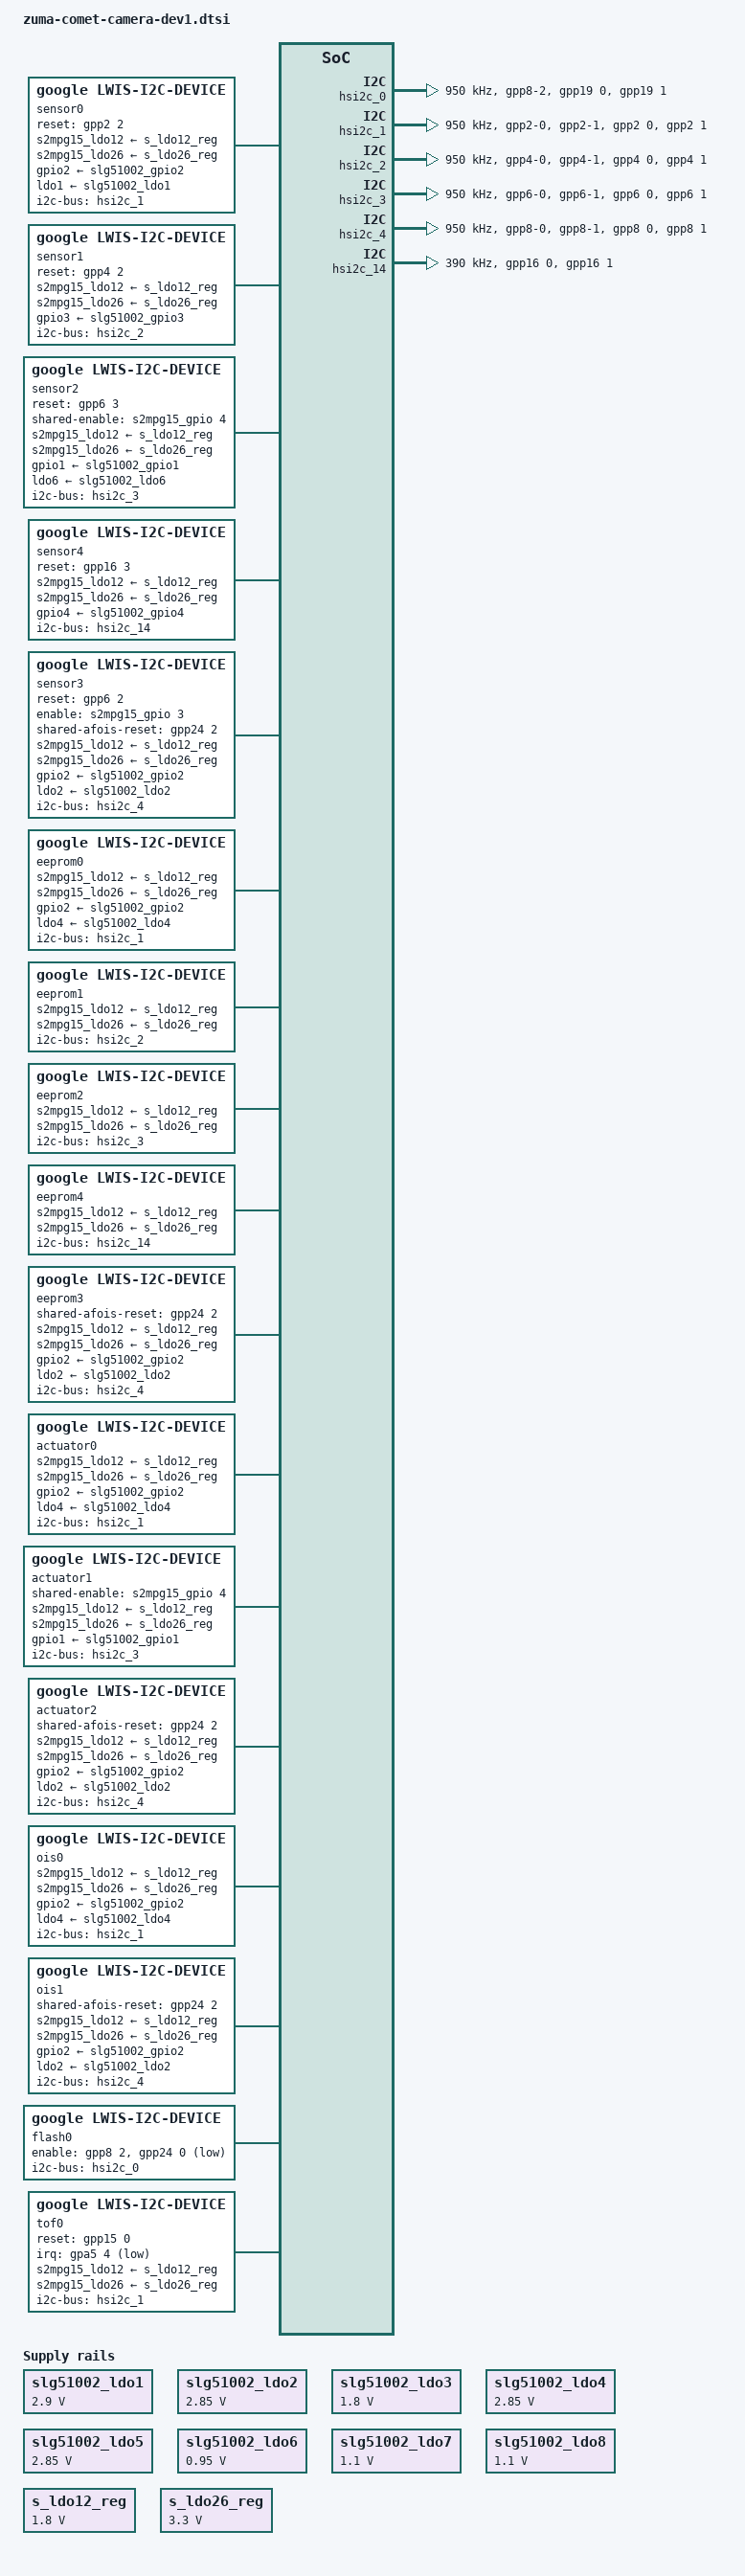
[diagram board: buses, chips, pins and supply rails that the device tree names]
// SPDX-License-Identifier: GPL-2.0-only
/*
 * zuma camera lwis device tree for comet
 *
 * Copyright 2023 Google LLC.
 *
 */

#include <dt-bindings/clock/zuma.h>
#include <dt-bindings/gpio/gpio.h>
#include <dt-bindings/lwis/platform/zuma/tof.h>
#include <arm64/exynos/exynos-pinctrl.h>

&slg51002_ldo1 {
	regulator-min-microvolt = <2900000>;
	regulator-max-microvolt = <2900000>;
};

&slg51002_ldo2 {
	regulator-min-microvolt = <2850000>;
	regulator-max-microvolt = <2850000>;
};

&slg51002_ldo3 {
	regulator-min-microvolt = <1800000>;
	regulator-max-microvolt = <1800000>;
};

&slg51002_ldo4 {
	regulator-min-microvolt = <2850000>;
	regulator-max-microvolt = <2850000>;
};

&slg51002_ldo5 {
	regulator-min-microvolt = <2850000>;
	regulator-max-microvolt = <2850000>;
};

&slg51002_ldo6 {
	regulator-min-microvolt = <950000>;
	regulator-max-microvolt = <950000>;
};

&slg51002_ldo7 {
	regulator-min-microvolt = <1100000>;
	regulator-max-microvolt = <1100000>;
};

&slg51002_ldo8 {
	regulator-min-microvolt = <1100000>;
	regulator-max-microvolt = <1100000>;
};

&s_ldo12_reg {
	regulator-min-microvolt = <1800000>;
	regulator-max-microvolt = <1800000>;
};

&s_ldo26_reg {
	regulator-min-microvolt = <3300000>;
	regulator-max-microvolt = <3300000>;
};

&pinctrl_11 {
	hsi2c1_bus: hsi2c1-bus {
		samsung,pin-pud = <EXYNOS_PIN_PULL_UP>;
	};

	hsi2c1_bus_in: hsi2c1-bus-in {
		samsung,pins = "gpp2-0", "gpp2-1";
		samsung,pin-function = <EXYNOS_PIN_FUNC_INPUT>;
		samsung,pin-pud = <EXYNOS_PIN_PULL_NONE>;
		samsung,pin-drv = <ZUMA_PIN_DRV_X1>;
	};

	hsi2c2_bus: hsi2c2-bus {
		samsung,pin-pud = <EXYNOS_PIN_PULL_UP>;
	};

	hsi2c2_bus_in: hsi2c2-bus-in {
		samsung,pins = "gpp4-0", "gpp4-1";
		samsung,pin-function = <EXYNOS_PIN_FUNC_INPUT>;
		samsung,pin-pud = <EXYNOS_PIN_PULL_NONE>;
		samsung,pin-drv = <ZUMA_PIN_DRV_X1>;
	};

	hsi2c3_bus: hsi2c3-bus {
		samsung,pin-pud = <EXYNOS_PIN_PULL_UP>;
	};

	hsi2c3_bus_in: hsi2c3-bus-in {
		samsung,pins = "gpp6-0", "gpp6-1";
		samsung,pin-function = <EXYNOS_PIN_FUNC_INPUT>;
		samsung,pin-pud = <EXYNOS_PIN_PULL_NONE>;
		samsung,pin-drv = <ZUMA_PIN_DRV_X1>;
	};

	hsi2c4_bus: hsi2c4-bus {
		samsung,pin-pud = <EXYNOS_PIN_PULL_UP>;
	};

	hsi2c4_bus_in: hsi2c4-bus-in {
		samsung,pins = "gpp8-0", "gpp8-1";
		samsung,pin-function = <EXYNOS_PIN_FUNC_INPUT>;
		samsung,pin-pud = <EXYNOS_PIN_PULL_NONE>;
		samsung,pin-drv = <ZUMA_PIN_DRV_X1>;
	};

	sensor_mclk1_out: sensor-mclk1-out {
		samsung,pin-drv = <ZUMA_PIN_DRV_X3>;
	};
	sensor_mclk1_fn: sensor-mclk1-fn {
		samsung,pin-drv = <ZUMA_PIN_DRV_X3>;
	};
	sensor_mclk2_out: sensor-mclk2-out {
		samsung,pin-drv = <ZUMA_PIN_DRV_X3>;
	};
	sensor_mclk2_fn: sensor-mclk2-fn {
		samsung,pin-drv = <ZUMA_PIN_DRV_X3>;
	};
	sensor_mclk4_out: sensor-mclk4-out {
		samsung,pin-drv = <ZUMA_PIN_DRV_X2>;
	};
	sensor_mclk4_fn: sensor-mclk4-fn {
		samsung,pin-drv = <ZUMA_PIN_DRV_X2>;
	};
	sensor_mclk5_out: sensor-mclk5-out {
		samsung,pin-drv = <ZUMA_PIN_DRV_X2>;
	};
	sensor_mclk5_fn: sensor-mclk5-fn {
		samsung,pin-drv = <ZUMA_PIN_DRV_X2>;
	};
};

&pinctrl_2 {
	ldaf_irq: ldaf-irq {
		samsung,pins = "gpa5-4"; /* XEINT_4 */
		samsung,pin-function = <EXYNOS_PIN_FUNC_EINT>;
		samsung,pin-pud = <EXYNOS_PIN_PULL_NONE>;
	};
};

&pinctrl_12 {
	/* GPP8[2] Flashlight Enable */
	flash_en: flash-en {
		samsung,pins = "gpp8-2";
		samsung,pin-function = <EXYNOS_PIN_FUNC_INPUT>;
		samsung,pin-pud = <EXYNOS_PIN_PULL_NONE>;
		samsung,pin-con-pdn = <EXYNOS_PIN_PDN_PREV>;
		samsung,pin-pud-pdn = <EXYNOS_PIN_PULL_NONE>;
	};
};

&hsi2c_0 {
	#address-cells = <1>;
	#size-cells = <0>;
	gpios = <&gpp19 0 GPIO_ACTIVE_HIGH &gpp19 1 GPIO_ACTIVE_HIGH>;
	status = "okay";
	clock-frequency = <950000>;

	pinctrl-names = "default","on_i2c","off_i2c";
	pinctrl-0 = <&hsi2c0_bus &flash_en>;
	pinctrl-1 = <&hsi2c0_bus>;
	pinctrl-2 = <&hsi2c0_bus>;
};

&hsi2c_1 {
	#address-cells = <1>;
	#size-cells = <0>;
	gpios = <&gpp2 0 GPIO_ACTIVE_HIGH &gpp2 1 GPIO_ACTIVE_HIGH>;
	status = "okay";
	clock-frequency = <950000>;
	samsung,reset-before-trans;

	pinctrl-names = "default","on_i2c","off_i2c";
	pinctrl-0 = <&hsi2c1_bus_in>;
	pinctrl-1 = <&hsi2c1_bus>;
	pinctrl-2 = <&hsi2c1_bus_in>;
};

&hsi2c_2 {
	#address-cells = <1>;
	#size-cells = <0>;
	gpios = <&gpp4 0 GPIO_ACTIVE_HIGH &gpp4 1 GPIO_ACTIVE_HIGH>;
	status = "okay";
	clock-frequency = <950000>;
	samsung,reset-before-trans;

	pinctrl-names = "default","on_i2c","off_i2c";
	pinctrl-0 = <&hsi2c2_bus_in>;
	pinctrl-1 = <&hsi2c2_bus>;
	pinctrl-2 = <&hsi2c2_bus_in>;
};

&hsi2c_3 {
	#address-cells = <1>;
	#size-cells = <0>;
	gpios = <&gpp6 0 GPIO_ACTIVE_HIGH &gpp6 1 GPIO_ACTIVE_HIGH>;
	status = "okay";
	clock-frequency = <950000>;
	samsung,reset-before-trans;

	pinctrl-names = "default","on_i2c","off_i2c";
	pinctrl-0 = <&hsi2c3_bus_in>;
	pinctrl-1 = <&hsi2c3_bus>;
	pinctrl-2 = <&hsi2c3_bus_in>;
};

&hsi2c_4 {
	#address-cells = <1>;
	#size-cells = <0>;
	gpios = <&gpp8 0 GPIO_ACTIVE_HIGH &gpp8 1 GPIO_ACTIVE_HIGH>;
	status = "okay";
	clock-frequency = <950000>;
	samsung,reset-before-trans;

	pinctrl-names = "default","on_i2c","off_i2c";
	pinctrl-0 = <&hsi2c4_bus_in>;
	pinctrl-1 = <&hsi2c4_bus>;
	pinctrl-2 = <&hsi2c4_bus_in>;
};

&hsi2c_14 {
	#address-cells = <1>;
	#size-cells = <0>;
	gpios = <&gpp16 0 GPIO_ACTIVE_HIGH &gpp16 1 GPIO_ACTIVE_HIGH>;
	status = "okay";
	clock-frequency = <390000>;

	pinctrl-names = "default","on_i2c","off_i2c";
	pinctrl-0 = <&hsi2c14_bus>;
	pinctrl-1 = <&hsi2c14_bus>;
	pinctrl-2 = <&hsi2c14_bus>;
};

/ {
	fragment@lwiscamera {
		target-path = "/";
		__overlay__ {
			/* REAR CAMERA OKSOKO */
			sensor0: sensor@0 {
				compatible = "google,lwis-i2c-device";

				/* Device node name */
				node-name = "sensor-oksoko";

				/* I2C */
				i2c-bus = <&hsi2c_1>;
				i2c-addr = <0x1A>;

				/* Registers */
				reg-addr-bitwidth = <16>;
				reg-value-bitwidth = <8>;

				/* GPIOs */
				/* RCAM_RST_L GPP2[2] */
				reset-gpios = <&gpp2 2 GPIO_ACTIVE_HIGH>;

				/* Power supplies */
				s2mpg15_ldo12-supply = <&s_ldo12_reg>;
				s2mpg15_ldo26-supply = <&s_ldo26_reg>;
				gpio2-supply = <&slg51002_gpio2>;
				ldo1-supply = <&slg51002_ldo1>;
				ldo8-supply = <&slg51002_ldo8>;
				ldo4-supply = <&slg51002_ldo4>;
				ldo3-supply = <&slg51002_ldo3>;

				clocks =
					<&clock CIS_CLK3>,
					<&clock GATE_DFTMUX_CMU_CIS_CLK3>;
				clock-names =
					"CIS_CLK3",
					"GATE_DFTMUX_CMU_CIS_CLK3";
				clock-rates =
					<26000000>,
					<0>;

				/* MCLK Control */
				pinctrl-names = "mclk_on", "mclk_off";
				pinctrl-0 = <&sensor_mclk4_fn>;
				pinctrl-1 = <&sensor_mclk4_out>;

				/* Power up sequence */
				power-up-seqs =
					"s2mpg15_ldo26",
					"s2mpg15_ldo12",
					"gpio2",
					"ldo4",
					"ldo1",
					"ldo3",
					"ldo8",
					"reset",
					"mclk_on";
				power-up-seq-types =
					"regulator",
					"regulator",
					"regulator",
					"regulator",
					"regulator",
					"regulator",
					"regulator",
					"gpio",
					"pinctrl";
				power-up-seq-delays-us =
					<0
					 1000
					 1000
					 1000
					 1000
					 1000
					 1000
					 1000
					 9000>;

				/* Power down sequence */
				power-down-seqs =
					"mclk_off",
					"reset",
					"ldo8",
					"ldo3",
					"ldo1",
					"ldo4",
					"gpio2",
					"s2mpg15_ldo12",
					"s2mpg15_ldo26";
				power-down-seq-types =
					"pinctrl",
					"gpio",
					"regulator",
					"regulator",
					"regulator",
					"regulator",
					"regulator",
					"regulator",
					"regulator";
				power-down-seq-delays-us =
					<1000
					 1000
					 1000
					 1000
					 1000
					 1000
					 1000
					 0
					 0>;

				/* Thread priority */
				transaction-thread-priority = <99>;

				i2c-lock-group-id = <0>;
			};

			/* INNER-FRONT CAMERA SVAROG */
			sensor1: sensor@1 {
				compatible = "google,lwis-i2c-device";

				/* Device node name */
				node-name = "sensor-svarog";

				/* I2C */
				i2c-bus = <&hsi2c_2>;
				i2c-addr = <0x10>;

				/* Registers */
				reg-addr-bitwidth = <16>;
				reg-value-bitwidth = <16>;

				/* GPIOs */
				reset-gpios = <&gpp4 2 GPIO_ACTIVE_HIGH>;

				/* Power supplies */
				s2mpg15_ldo12-supply = <&s_ldo12_reg>;
				s2mpg15_ldo26-supply = <&s_ldo26_reg>;
				gpio3-supply = <&slg51002_gpio3>;

				clocks =
					<&clock CIS_CLK1>,
					<&clock GATE_DFTMUX_CMU_CIS_CLK1>;
				clock-names =
					"CIS_CLK1",
					"GATE_DFTMUX_CMU_CIS_CLK1";
				clock-rates =
					<24000000>,
					<0>;

				/* MCLK Control */
				pinctrl-names = "mclk_on", "mclk_off";
				pinctrl-0 = <&sensor_mclk2_fn>;
				pinctrl-1 = <&sensor_mclk2_out>;

				/* Power up sequence */
				power-up-seqs =
					"s2mpg15_ldo26",
					"s2mpg15_ldo12",
					"gpio3",
					"reset",
					"mclk_on";
				power-up-seq-types =
					"regulator",
					"regulator",
					"regulator",
					"gpio",
					"pinctrl";
				power-up-seq-delays-us =
					<0
					 1000
					 1500
					 1000
					 8000>;

				/* Power down sequence */
				power-down-seqs =
					"mclk_off",
					"reset",
					"gpio3",
					"s2mpg15_ldo12",
					"s2mpg15_ldo26";
				power-down-seq-types =
					"pinctrl",
					"gpio",
					"regulator",
					"regulator",
					"regulator";
				power-down-seq-delays-us =
					<1000
					 1000
					 1000
					 0
					 1000>;

				/* Thread priority */
				transaction-thread-priority = <99>;
			};

			/* REAR ULTRA WIDE CAMERA IMENTET */
			sensor2: sensor@2 {
				compatible = "google,lwis-i2c-device";

				/* Device node name */
				node-name = "sensor-imentet";

				/* I2C */
				i2c-bus = <&hsi2c_3>;
				i2c-addr = <0x2D>;

				/* Registers */
				reg-addr-bitwidth = <16>;
				reg-value-bitwidth = <16>;

				/* GPIOs */
				reset-gpios = <&gpp6 3 GPIO_ACTIVE_HIGH>;
				shared-enable-gpios = <&s2mpg15_gpio 4 GPIO_ACTIVE_HIGH>;

				/* Power supplies */
				s2mpg15_ldo12-supply = <&s_ldo12_reg>;
				s2mpg15_ldo26-supply = <&s_ldo26_reg>;
				gpio1-supply = <&slg51002_gpio1>;
				ldo6-supply = <&slg51002_ldo6>;

				clocks =
					<&clock CIS_CLK0>,
					<&clock GATE_DFTMUX_CMU_CIS_CLK0>;
				clock-names =
					"CIS_CLK0",
					"GATE_DFTMUX_CMU_CIS_CLK0";
				clock-rates =
					<24000000>,
					<0>;

				/* MCLK Control */
				pinctrl-names = "mclk_on", "mclk_off";
				pinctrl-0 = <&sensor_mclk1_fn>;
				pinctrl-1 = <&sensor_mclk1_out>;

				/* Power up sequence */
				power-up-seqs =
					"shared-enable",
					"s2mpg15_ldo26",
					"s2mpg15_ldo12",
					"gpio1",
					"ldo6",
					"reset",
					"mclk_on";
				power-up-seq-types =
					"gpio",
					"regulator",
					"regulator",
					"regulator",
					"regulator",
					"gpio",
					"pinctrl";
				power-up-seq-delays-us =
					<0
					 0
					 1000
					 1000
					 1500
					 1000
					 5000>;

				/* Power down sequence */
				power-down-seqs =
					"mclk_off",
					"reset",
					"ldo6",
					"gpio1",
					"s2mpg15_ldo12",
					"s2mpg15_ldo26",
					"shared-enable";
				power-down-seq-types =
					"pinctrl",
					"gpio",
					"regulator",
					"regulator",
					"regulator",
					"regulator",
					"gpio";
				power-down-seq-delays-us =
					<5000
					 1000
					 1000
					 1000
					 0
					 0
					 1000>;

				/* Thread priority */
				transaction-thread-priority = <99>;
			};

			/* OUTER-FRONT CAMERA SVAROG */
			sensor4: sensor@4 {
				compatible = "google,lwis-i2c-device";

				/* Device node name */
				node-name = "sensor-svarog-outer";

				/* I2C */
				i2c-bus = <&hsi2c_14>;
				i2c-addr = <0x10>;

				/* Registers */
				reg-addr-bitwidth = <16>;
				reg-value-bitwidth = <16>;

				/* GPIOs */
				reset-gpios = <&gpp16 3 GPIO_ACTIVE_HIGH>;

				/* Power supplies */
				s2mpg15_ldo12-supply = <&s_ldo12_reg>;
				s2mpg15_ldo26-supply = <&s_ldo26_reg>;
				gpio4-supply = <&slg51002_gpio4>;

				clocks =
					<&clock CIS_CLK4>,
					<&clock GATE_DFTMUX_CMU_CIS_CLK4>;
				clock-names =
					"CIS_CLK4",
					"GATE_DFTMUX_CMU_CIS_CLK4";
				clock-rates =
					<24000000>,
					<0>;

				/* MCLK Control */
				pinctrl-names = "mclk_on", "mclk_off";
				pinctrl-0 = <&sensor_mclk5_fn>;
				pinctrl-1 = <&sensor_mclk5_out>;

				/* Power up sequence */
				power-up-seqs =
					"s2mpg15_ldo26",
					"s2mpg15_ldo12",
					"gpio4",
					"reset",
					"mclk_on";
				power-up-seq-types =
					"regulator",
					"regulator",
					"regulator",
					"gpio",
					"pinctrl";
				power-up-seq-delays-us =
					<0
					 1000
					 1500
					 1000
					 8000>;

				/* Power down sequence */
				power-down-seqs =
					"mclk_off",
					"reset",
					"gpio4",
					"s2mpg15_ldo12",
					"s2mpg15_ldo26";
				power-down-seq-types =
					"pinctrl",
					"gpio",
					"regulator",
					"regulator",
					"regulator";
				power-down-seq-delays-us =
					<1000
					 1000
					 1000
					 0
					 1000>;

				/* Thread priority */
				transaction-thread-priority = <99>;
			};

			/* REAR TELE CAMERA DOKKAEBI */
			sensor3: sensor@3 {
				compatible = "google,lwis-i2c-device";

				/* Device node name */
				node-name = "sensor-dokkaebi-tele";

				/* I2C */
				i2c-bus = <&hsi2c_4>;
				i2c-addr = <0x10>;

				/* Registers */
				reg-addr-bitwidth = <16>;
				reg-value-bitwidth = <16>;

				/* GPIOs */
				reset-gpios = <&gpp6 2 GPIO_ACTIVE_HIGH>;
				enable-gpios = <&s2mpg15_gpio 3 GPIO_ACTIVE_HIGH>;
				shared-afois-reset-gpios = <&gpp24 2 GPIO_ACTIVE_HIGH>;

				/* Power supplies */
				s2mpg15_ldo12-supply = <&s_ldo12_reg>;
				s2mpg15_ldo26-supply = <&s_ldo26_reg>;
				gpio2-supply = <&slg51002_gpio2>;
				ldo2-supply = <&slg51002_ldo2>;
				ldo7-supply = <&slg51002_ldo7>;

				clocks =
					<&clock CIS_CLK2>,
					<&clock GATE_DFTMUX_CMU_CIS_CLK2>;
				clock-names =
					"CIS_CLK2",
					"GATE_DFTMUX_CMU_CIS_CLK2";
				clock-rates =
					<24000000>,
					<0>;

				/* MCLK Control */
				pinctrl-names = "mclk_on", "mclk_off";
				pinctrl-0 = <&sensor_mclk3_fn>;
				pinctrl-1 = <&sensor_mclk3_out>;

				/* Power up sequence */
				power-up-seqs =
					"s2mpg15_ldo26",
					"s2mpg15_ldo12",
					"gpio2",
					"ldo2",
					"shared-afois-reset",
					"enable",
					"ldo7",
					"reset",
					"mclk_on";
				power-up-seq-types =
					"regulator",
					"regulator",
					"regulator",
					"regulator",
					"gpio",
					"gpio",
					"regulator",
					"gpio",
					"pinctrl";
				power-up-seq-delays-us =
					<0
					 1000
					 1000
					 2500
					 1000
					 1000
					 1000
					 1000
					 10000>;

				/* Power down sequence */
				power-down-seqs =
					"mclk_off",
					"reset",
					"ldo7",
					"enable",
					"shared-afois-reset",
					"ldo2",
					"gpio2",
					"s2mpg15_ldo12",
					"s2mpg15_ldo26";
				power-down-seq-types =
					"pinctrl",
					"gpio",
					"regulator",
					"gpio",
					"gpio",
					"regulator",
					"regulator",
					"regulator",
					"regulator";
				power-down-seq-delays-us =
					<1000
					 1000
					 1000
					 1000
					 2500
					 1000
					 1000
					 0
					 1000>;

				/* Thread priority */
				transaction-thread-priority = <99>;

				i2c-lock-group-id = <3>;
			};

			/* EEPROM NESSIE for OKSOKO*/
			eeprom0: eeprom@0 {
				compatible = "google,lwis-i2c-device";
				/* Device node name */
				node-name = "eeprom-nessie";
				/* I2C */
				i2c-bus = <&hsi2c_1>;
				i2c-addr = <0x24>;
				/* Registers */
				reg-addr-bitwidth = <16>;
				reg-value-bitwidth = <32>;
				/* Power supplies */
				s2mpg15_ldo12-supply = <&s_ldo12_reg>;
				s2mpg15_ldo26-supply = <&s_ldo26_reg>;
				gpio2-supply = <&slg51002_gpio2>;
				ldo4-supply = <&slg51002_ldo4>;
				/* Power up sequence */
				power-up-seqs =
					"s2mpg15_ldo26",
					"s2mpg15_ldo12",
					"gpio2",
					"ldo4";
				power-up-seq-types =
					"regulator",
					"regulator",
					"regulator",
					"regulator";
				power-up-seq-delays-us =
					<0
					 1000
					 1000
					 1000>;
				/* Power down sequence */
				power-down-seqs =
					"ldo4",
					"gpio2",
					"s2mpg15_ldo12",
					"s2mpg15_ldo26";
				power-down-seq-types =
					"regulator",
					"regulator",
					"regulator",
					"regulator";
				power-down-seq-delays-us =
					<1000
					 1000
					 0
					 1000>;

				i2c-lock-group-id = <0>;
			};

			/* EEPROM SMAUG for SVAROG */
			eeprom1: eeprom@1 {
				compatible = "google,lwis-i2c-device";

				/* Device node name */
				node-name = "eeprom-smaug-svarog";

				/* I2C */
				i2c-bus = <&hsi2c_2>;
				i2c-addr = <0x50>;

				/* Registers */
				reg-addr-bitwidth = <16>;
				reg-value-bitwidth = <8>;

				/* Power supplies */
				s2mpg15_ldo12-supply = <&s_ldo12_reg>;
				s2mpg15_ldo26-supply = <&s_ldo26_reg>;

				/* Power up sequence */
				power-up-seqs =
					"s2mpg15_ldo26",
					"s2mpg15_ldo12";
				power-up-seq-types =
					"regulator",
					"regulator";
				power-up-seq-delays-us =
					<0
					1000>;

				/* Power down sequence */
				power-down-seqs =
					"s2mpg15_ldo12",
					"s2mpg15_ldo26";
				power-down-seq-types =
					"regulator",
					"regulator";
				power-down-seq-delays-us =
					<0
					1000>;
			};

			/* EEPROM SMAUG for IMENTET UW */
			eeprom2: eeprom@2 {
				compatible = "google,lwis-i2c-device";

				/* Device node name */
				node-name = "eeprom-smaug-imentet";

				/* I2C */
				i2c-bus = <&hsi2c_3>;
				i2c-addr = <0x50>;

				/* Registers */
				reg-addr-bitwidth = <16>;
				reg-value-bitwidth = <8>;

				/* Power supplies */
				s2mpg15_ldo12-supply = <&s_ldo12_reg>;
				s2mpg15_ldo26-supply = <&s_ldo26_reg>;

				/* Power up sequence */
				power-up-seqs =
					"s2mpg15_ldo26",
					"s2mpg15_ldo12";
				power-up-seq-types =
					"regulator",
					"regulator";
				power-up-seq-delays-us =
					<0
					1000>;

				/* Power down sequence */
				power-down-seqs =
					"s2mpg15_ldo12",
					"s2mpg15_ldo26";
				power-down-seq-types =
					"regulator",
					"regulator";
				power-down-seq-delays-us =
					<0
					1000>;
			};

			/* EEPROM SMAUG for SVAROG OUTER */
			eeprom4: eeprom@4 {
				compatible = "google,lwis-i2c-device";

				/* Device node name */
				node-name = "eeprom-smaug-svarog-outer";

				/* I2C */
				i2c-bus = <&hsi2c_14>;
				i2c-addr = <0x50>;

				/* Registers */
				reg-addr-bitwidth = <16>;
				reg-value-bitwidth = <8>;

				/* Power supplies */
				s2mpg15_ldo12-supply = <&s_ldo12_reg>;
				s2mpg15_ldo26-supply = <&s_ldo26_reg>;

				/* Power up sequence */
				power-up-seqs =
					"s2mpg15_ldo26",
					"s2mpg15_ldo12";
				power-up-seq-types =
					"regulator",
					"regulator";
				power-up-seq-delays-us =
					<0
					1000>;

				/* Power down sequence */
				power-down-seqs =
					"s2mpg15_ldo12",
					"s2mpg15_ldo26";
				power-down-seq-types =
					"regulator",
					"regulator";
				power-down-seq-delays-us =
					<0
					1000>;
			};

			/* EEPROM JOTNAR for DOKKAEBI */
			eeprom3: eeprom@3 {
				compatible = "google,lwis-i2c-device";

				/* Device node name */
				node-name = "eeprom-jotnar";

				/* I2C */
				i2c-bus = <&hsi2c_4>;
				i2c-addr = <0x34>;

				/* Registers */
				reg-addr-bitwidth = <16>;
				reg-value-bitwidth = <8>;

				/* GPIOs */
				shared-afois-reset-gpios = <&gpp24 2 GPIO_ACTIVE_HIGH>;

				/* Power supplies */
				s2mpg15_ldo12-supply = <&s_ldo12_reg>;
				s2mpg15_ldo26-supply = <&s_ldo26_reg>;
				gpio2-supply = <&slg51002_gpio2>;
				ldo2-supply = <&slg51002_ldo2>;

				/* Power up sequence */
				power-up-seqs =
					"s2mpg15_ldo26",
					"s2mpg15_ldo12",
					"gpio2",
					"ldo2",
					"shared-afois-reset";
				power-up-seq-types =
					"regulator",
					"regulator",
					"regulator",
					"regulator",
					"gpio";
				power-up-seq-delays-us =
					<0
					 1000
					 1000
					 2500
					 1000>;

				/* Power down sequence */
				power-down-seqs =
					"shared-afois-reset",
					"ldo2",
					"gpio2",
					"s2mpg15_ldo12",
					"s2mpg15_ldo26";
				power-down-seq-types =
					"gpio",
					"regulator",
					"regulator",
					"regulator",
					"regulator";
				power-down-seq-delays-us =
					<2500
					 1000
					 1000
					 0
					 1000>;

				/* Thread priority */
				transaction-thread-priority = <99>;

				i2c-lock-group-id = <3>;
			};

			/* Actuator NESSIE for OKSOKO */
			actuator0: actuator@0 {
				compatible = "google,lwis-i2c-device";

				/* Device node name */
				node-name = "act-nessie";

				/* I2C */
				i2c-bus = <&hsi2c_1>;
				i2c-addr = <0x24>;

				/* Registers */
				reg-addr-bitwidth = <16>;
				reg-value-bitwidth = <32>;

				/* Power supplies */
				s2mpg15_ldo12-supply = <&s_ldo12_reg>;
				s2mpg15_ldo26-supply = <&s_ldo26_reg>;
				gpio2-supply = <&slg51002_gpio2>;
				ldo4-supply = <&slg51002_ldo4>;

				/* Power up sequence */
				power-up-seqs =
					"s2mpg15_ldo26",
					"s2mpg15_ldo12",
					"gpio2",
					"ldo4";
				power-up-seq-types =
					"regulator",
					"regulator",
					"regulator",
					"regulator";
				power-up-seq-delays-us =
					<0
					 1000
					 1000
					 1000>;

				/* Power down sequence */
				power-down-seqs =
					"ldo4",
					"gpio2",
					"s2mpg15_ldo12",
					"s2mpg15_ldo26";
				power-down-seq-types =
					"regulator",
					"regulator",
					"regulator",
					"regulator";
				power-down-seq-delays-us =
					<1000
					 1000
					 0
					 1000>;

				/* Thread priority */
				periodic-io-thread-priority = <99>;

				i2c-lock-group-id = <0>;
			};

			/* Actuator CORNERFOLK for IMENTET */
			actuator1: actuator@1 {
				compatible = "google,lwis-i2c-device";

				/* Device node name */
				node-name = "act-cornerfolk";

				/* I2C */
				i2c-bus = <&hsi2c_3>;
				i2c-addr = <0x0C>;

				/* Registers */
				reg-addr-bitwidth = <8>;
				reg-value-bitwidth = <8>;

				/* GPIOs */
				shared-enable-gpios = <&s2mpg15_gpio 4 GPIO_ACTIVE_HIGH>;

				/* Power supplies */
				s2mpg15_ldo12-supply = <&s_ldo12_reg>;
				s2mpg15_ldo26-supply = <&s_ldo26_reg>;

				/* Enable CAM_BB_EN */
				/* TODO(b/287180769#comment9): to remove in proto */
				gpio1-supply = <&slg51002_gpio1>;

				/* Power up sequence */
				power-up-seqs =
					"shared-enable",
					"s2mpg15_ldo26",
					"s2mpg15_ldo12",
					"gpio1";
				power-up-seq-types =
					"gpio",
					"regulator",
					"regulator",
					"regulator";
				power-up-seq-delays-us =
					<0
					 0
					 1000
					 1000>;

				/* Power down sequence */
				power-down-seqs =
					"gpio1",
					"s2mpg15_ldo12",
					"s2mpg15_ldo26",
					"shared-enable";
				power-down-seq-types =
					"regulator",
					"regulator",
					"regulator",
					"gpio";
				power-down-seq-delays-us =
					<1000
					 0
					 0
					 1000>;

				/* Thread priority */
				transaction-thread-priority = <99>;

				i2c-lock-group-id = <2>;
			};

			/* Actuator JOTNAR for DOKKAEBI */
			actuator2: actuator@2 {
				compatible = "google,lwis-i2c-device";

				/* Device node name */
				node-name = "act-jotnar";

				/* I2C */
				i2c-bus = <&hsi2c_4>;
				i2c-addr = <0x34>;

				/* Registers */
				reg-addr-bitwidth = <16>;
				reg-value-bitwidth = <8>;

				/* GPIOs */
				shared-afois-reset-gpios = <&gpp24 2 GPIO_ACTIVE_HIGH>;

				/* Power supplies */
				s2mpg15_ldo12-supply = <&s_ldo12_reg>;
				s2mpg15_ldo26-supply = <&s_ldo26_reg>;
				gpio2-supply = <&slg51002_gpio2>;
				ldo2-supply = <&slg51002_ldo2>;

				/* Power up sequence */
				power-up-seqs =
					"s2mpg15_ldo26",
					"s2mpg15_ldo12",
					"gpio2",
					"ldo2",
					"shared-afois-reset";
				power-up-seq-types =
					"regulator",
					"regulator",
					"regulator",
					"regulator",
					"gpio";
				power-up-seq-delays-us =
					<0
					 1000
					 1000
					 2500
					 1000>;

				/* Power down sequence */
				power-down-seqs =
					"shared-afois-reset",
					"ldo2",
					"gpio2",
					"s2mpg15_ldo12",
					"s2mpg15_ldo26";
				power-down-seq-types =
					"gpio",
					"regulator",
					"regulator",
					"regulator",
					"regulator";
				power-down-seq-delays-us =
					<2500
					 1000
					 1000
					 0
					 1000>;

				/* Thread priority */
				transaction-thread-priority = <99>;

				i2c-lock-group-id = <3>;
			};

			/* OIS NESSIE for OKSOKO*/
			ois0: ois@0 {
				compatible = "google,lwis-i2c-device";

				/* Device node name */
				node-name = "ois-nessie";

				/* I2C */
				i2c-bus = <&hsi2c_1>;
				i2c-addr = <0x24>;

				/* Registers */
				reg-addr-bitwidth = <16>;
				reg-value-bitwidth = <32>;

				/* Power supplies */
				s2mpg15_ldo12-supply = <&s_ldo12_reg>;
				s2mpg15_ldo26-supply = <&s_ldo26_reg>;
				gpio2-supply = <&slg51002_gpio2>;
				ldo4-supply = <&slg51002_ldo4>;

				/* Power up sequence */
				power-up-seqs =
					"s2mpg15_ldo26",
					"s2mpg15_ldo12",
					"gpio2",
					"ldo4";
				power-up-seq-types =
					"regulator",
					"regulator",
					"regulator",
					"regulator";
				power-up-seq-delays-us =
					<0
					 1000
					 1000
					 1000>;

				/* Power down sequence */
				power-down-seqs =
					"ldo4",
					"gpio2",
					"s2mpg15_ldo12",
					"s2mpg15_ldo26";
				power-down-seq-types =
					"regulator",
					"regulator",
					"regulator",
					"regulator";
				power-down-seq-delays-us =
					<1000
					 1000
					 0
					 1000>;

				/* Thread priority */
				periodic-io-thread-priority = <99>;

				i2c-lock-group-id = <0>;
			};

			/* Ois JOTNAR for DOKKAEBI */
			ois1: ois@1 {
				compatible = "google,lwis-i2c-device";

				/* Device node name */
				node-name = "ois-jotnar";

				/* I2C */
				i2c-bus = <&hsi2c_4>;
				i2c-addr = <0x34>;

				/* Registers */
				reg-addr-bitwidth = <16>;
				reg-value-bitwidth = <8>;

				/* GPIOs */
				shared-afois-reset-gpios = <&gpp24 2 GPIO_ACTIVE_HIGH>;

				/* Power supplies */
				s2mpg15_ldo12-supply = <&s_ldo12_reg>;
				s2mpg15_ldo26-supply = <&s_ldo26_reg>;
				gpio2-supply = <&slg51002_gpio2>;
				ldo2-supply = <&slg51002_ldo2>;

				/* Power up sequence */
				power-up-seqs =
					"s2mpg15_ldo26",
					"s2mpg15_ldo12",
					"gpio2",
					"ldo2",
					"shared-afois-reset";
				power-up-seq-types =
					"regulator",
					"regulator",
					"regulator",
					"regulator",
					"gpio";
				power-up-seq-delays-us =
					<0
					 1000
					 1000
					 2500
					 1000>;

				/* Power down sequence */
				power-down-seqs =
					"shared-afois-reset",
					"ldo2",
					"gpio2",
					"s2mpg15_ldo12",
					"s2mpg15_ldo26";
				power-down-seq-types =
					"gpio",
					"regulator",
					"regulator",
					"regulator",
					"regulator";
				power-down-seq-delays-us =
					<2500
					 1000
					 1000
					 0
					 1000>;

				/* Thread priority */
				transaction-thread-priority = <99>;

				i2c-lock-group-id = <3>;
			};

			flash0: flash@0 {
				compatible = "google,lwis-i2c-device";

				/* Device node name */
				node-name = "flash-lm3644";

				/* I2C */
				i2c-bus = <&hsi2c_0>;
				i2c-addr = <0x63>;

				/* Registers */
				reg-addr-bitwidth = <8>;
				reg-value-bitwidth = <8>;

				/* Power Management hibernation (deep sleep) */
				/* 1 : enable, 0 : disable */
				pm-hibernation = <0>;

				/* GPIOs */
				/* HW_ENABLE GPP8[2] */
				/* FLASH_STROBE GPP24[0] */
				enable-gpios =
					<&gpp8 2 GPIO_ACTIVE_HIGH
					 &gpp24 0 GPIO_ACTIVE_LOW>;
			};

			tof0: tof@0 {
				compatible = "google,lwis-i2c-device";

				/* Device node name */
				node-name = "tof-tarasque";

				/* I2C */
				i2c-bus = <&hsi2c_1>;
				i2c-addr = <0x29>;

				/* Registers */
				reg-addr-bitwidth = <16>;
				reg-value-bitwidth = <8>;

				/* Power supplies */
				/* VIO 1.8V */
				s2mpg15_ldo12-supply = <&s_ldo12_reg>;
				/* VADD 3.3V */
				s2mpg15_ldo26-supply = <&s_ldo26_reg>;

				/* XAPC_MCLK8: GPP15[0] */
				reset-gpios = <&gpp15 0 GPIO_ACTIVE_HIGH>;

				/* MCLK and TOF IRQ Control*/
				pinctrl-names = "mclk_on", "mclk_off", "default";
				pinctrl-0 = <&sensor_mclk8_fn>;
				pinctrl-1 = <&sensor_mclk8_out>;
				pinctrl-2 = <&ldaf_irq>;

				/* XEINT_4: GPA5[4] */
				irq-gpios = <&gpa5 4 GPIO_ACTIVE_LOW>;
				irq-gpios-names = "tof-irq";
				irq-gpios-events = <LWIS_PLATFORM_EVENT_ID_TOF_DATA_POLLING>;
				/* IRQF_ONESHOT | IRQF_TRIGGER_FALLING */
				irq-gpios-types = <0x2002>;

				/* Power up sequence */
				power-up-seqs =
					"mclk_off",
					"s2mpg15_ldo12",
					"s2mpg15_ldo26",
					"reset";
				power-up-seq-types =
					"pinctrl",
					"regulator",
					"regulator",
					"gpio";
				power-up-seq-delays-us =
					<0
					 0
					 0
					 1000>;

				/* Power down sequence */
				power-down-seqs =
					"reset",
					"s2mpg15_ldo26",
					"s2mpg15_ldo12";
				power-down-seq-types =
					"gpio",
					"regulator",
					"regulator";
				power-down-seq-delays-us =
					<1000
					 0
					 0>;

				i2c-lock-group-id = <0>;
			};
		};
	};
};
